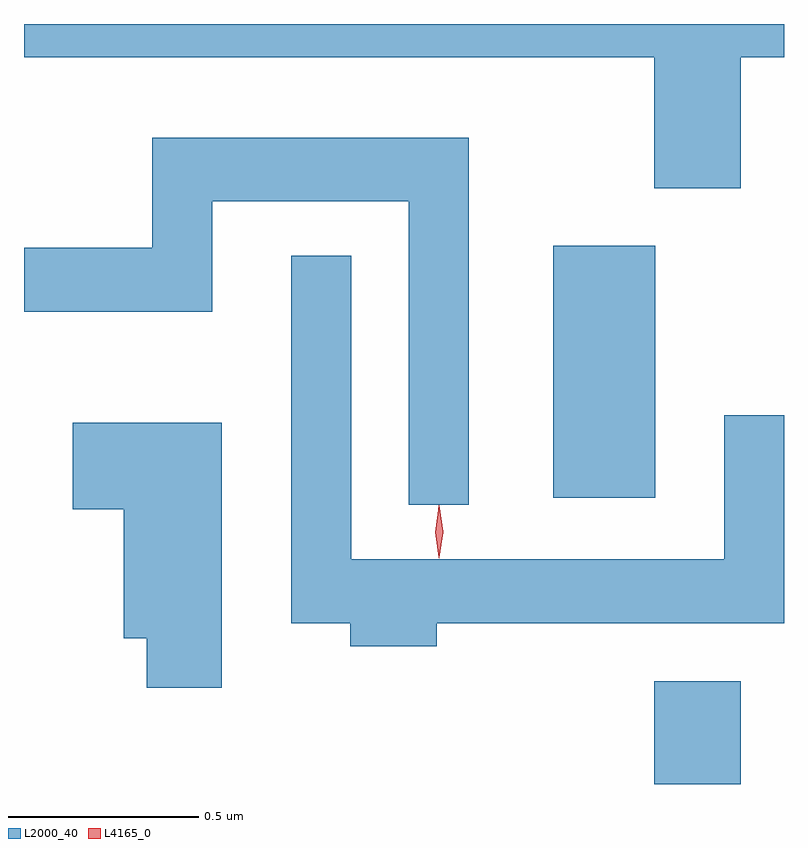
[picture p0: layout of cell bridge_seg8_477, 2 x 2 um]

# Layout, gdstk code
import gdstk
lib = gdstk.Library(unit=1e-6, precision=1e-09)
def R(c, l, rs):  # rectangles x0, y0, x1, y1
    for r in rs: c.add(gdstk.rectangle(r[:2], r[2:], *l))
def P(c, l, *ps):  # polygons
    for p in ps: c.add(gdstk.Polygon(p, *l))
L2000_40 = (2000, 40)
L4165_0 = (4165, 0)

bridge_seg8_477 = lib.new_cell('bridge_seg8_477')
R(bridge_seg8_477, L2000_40, [(588.481,1912.203,588.709,1912.474), (588.216,1912.956,588.484,1913.619)])
P(bridge_seg8_477, L2000_40, [(588.709,1914.116),(588.823,1914.116),(588.823,1914.203),(586.823,1914.203),(586.823,1914.116),(588.481,1914.116),(588.481,1913.771),(588.709,1913.771)],
  [(587.994,1913.904),(587.161,1913.904),(587.161,1913.614),(586.823,1913.614),(586.823,1913.446),(587.319,1913.446),(587.319,1913.736),(587.836,1913.736),(587.836,1912.938),(587.994,1912.938)],
  [(587.909,1912.626),(588.823,1912.626),(588.823,1913.173),(588.666,1913.173),(588.666,1912.794),(587.684,1912.794),(587.684,1913.593),(587.526,1913.593),(587.526,1912.626),(587.681,1912.626),(587.681,1912.566),(587.909,1912.566)],
  [(587.344,1913.154),(586.951,1913.154),(586.951,1912.926),(587.086,1912.926),(587.086,1912.586),(587.146,1912.586),(587.146,1912.456),(587.344,1912.456)])
P(bridge_seg8_477, L4165_0, [(587.916,1912.797),(587.915,1912.798),(587.906,1912.867),(587.915,1912.936),(587.916,1912.936),(587.916,1912.936),(587.926,1912.867),(587.916,1912.798)],
  [(587.916,1912.799),(587.915,1912.8),(587.905,1912.866),(587.915,1912.932),(587.916,1912.933),(587.916,1912.932),(587.926,1912.866),(587.916,1912.8)])

lib.write_gds('bridge_seg8_477.gds')
